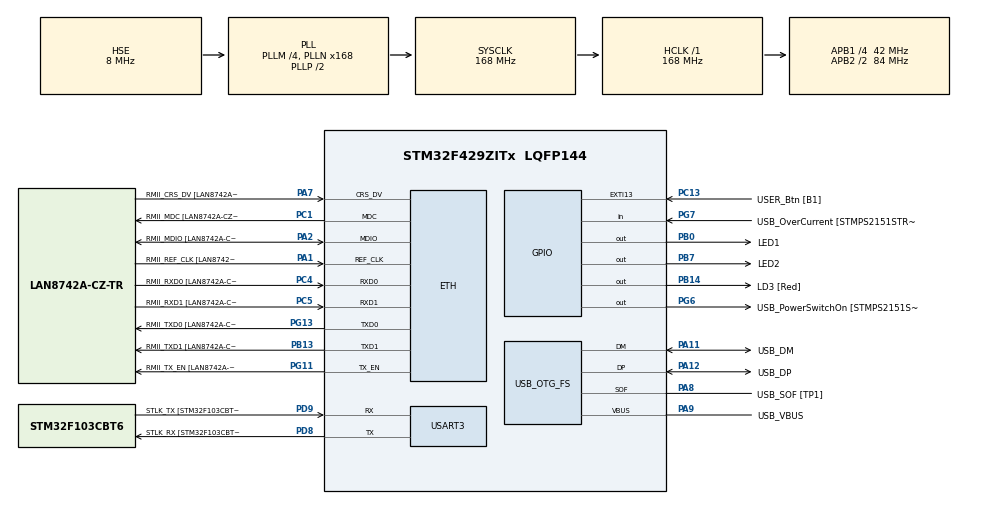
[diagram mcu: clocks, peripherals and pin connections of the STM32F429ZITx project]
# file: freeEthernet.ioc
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ETH.MediaInterface=HAL_ETH_RMII_MODE
ETH.PHY_Name=LAN8742A_PHY_ADDRESS
ETH.PHY_Value=0
ETH.PhyAddress=0
FREERTOS.Tasks01=Ping,24,512,sendPing,Default,NULL,Dynamic,NULL,NULL;Blink,8,512,blinkLED,Default,NULL,Dynamic,NULL,NULL
LWIP.BSP.number=1
LWIP.IP_ADDRESS=192.168.025.030
LWIP.LWIP_DHCP=0
LWIP.NETMASK_ADDRESS=255.255.255.000
LWIP.Version=v2.1.2_Cube
LWIP0.BSP.STBoard=false
LWIP0.BSP.api=BSP_COMPONENT_DRIVER
LWIP0.BSP.component=LAN8742
LWIP0.BSP.instance=LAN8742
LWIP0.BSP.name=Driver_PHY
LWIP0.BSP.semaphore=S_LAN8742
LWIP0.BSP.solution=LAN8742
Mcu.Family=STM32F4
Mcu.Name=STM32F429ZITx
Mcu.Package=LQFP144
NVIC.ETH_IRQn=true\:5\:0\:false\:false\:true\:true\:false\:true\:true
NVIC.PriorityGroup=NVIC_PRIORITYGROUP_4
NVIC.TIM6_DAC_IRQn=true\:15\:0\:false\:false\:true\:false\:false\:true\:true
NVIC.TimeBase=TIM6_DAC_IRQn
NVIC.TimeBaseIP=TIM6
PA1.GPIO_Label=RMII_REF_CLK [LAN8742A-CZ-TR_REFCLK0]
PA1.Mode=RMII
PA1.Signal=ETH_REF_CLK
PA10.GPIO_Label=USB_ID
PA10.Signal=USB_OTG_FS_ID
PA11.GPIO_Label=USB_DM
PA11.Mode=Device_Only
PA11.Signal=USB_OTG_FS_DM
PA12.GPIO_Label=USB_DP
PA12.Mode=Device_Only
PA12.Signal=USB_OTG_FS_DP
PA13.GPIO_Label=TMS
PA13.Mode=Trace_Asynchronous_SW
PA13.Signal=SYS_JTMS-SWDIO
PA14.GPIO_Label=TCK
PA14.Mode=Trace_Asynchronous_SW
PA14.Signal=SYS_JTCK-SWCLK
PA2.GPIO_Label=RMII_MDIO [LAN8742A-CZ-TR_MDIO]
PA2.Mode=RMII
PA2.Signal=ETH_MDIO
PA7.GPIO_Label=RMII_CRS_DV [LAN8742A-CZ-TR_CRS_DV]
PA7.Mode=RMII
PA7.Signal=ETH_CRS_DV
PA8.GPIO_Label=USB_SOF [TP1]
PA8.Mode=Activate_SOF_FS
PA8.Signal=USB_OTG_FS_SOF
PA9.GPIO_Label=USB_VBUS
PA9.Mode=Activate_VBUS
PA9.Signal=USB_OTG_FS_VBUS
PB0.GPIO_Label=LED1
PB0.Signal=GPIO_Output
PB13.GPIO_Label=RMII_TXD1 [LAN8742A-CZ-TR_TXD1]
PB13.Mode=RMII
PB13.Signal=ETH_TXD1
PB14.GPIO_Label=LD3 [Red]
PB14.Signal=GPIO_Output
PB3.Mode=Trace_Asynchronous_SW
PB3.Signal=SYS_JTDO-SWO
PB7.GPIO_Label=LED2
PB7.Signal=GPIO_Output
PC1.GPIO_Label=RMII_MDC [LAN8742A-CZ-TR_MDC]
PC1.Mode=RMII
PC1.Signal=ETH_MDC
PC13.GPIO_Label=USER_Btn [B1]
PC13.Signal=GPXTI13
PC14/OSC32_IN.Mode=LSE-External-Oscillator
PC14/OSC32_IN.Signal=RCC_OSC32_IN
PC15/OSC32_OUT.Mode=LSE-External-Oscillator
PC15/OSC32_OUT.Signal=RCC_OSC32_OUT
PC4.GPIO_Label=RMII_RXD0 [LAN8742A-CZ-TR_RXD0]
PC4.Mode=RMII
PC4.Signal=ETH_RXD0
PC5.GPIO_Label=RMII_RXD1 [LAN8742A-CZ-TR_RXD1]
PC5.Mode=RMII
PC5.Signal=ETH_RXD1
PD8.GPIO_Label=STLK_RX [STM32F103CBT6_PA3]
PD8.Mode=Asynchronous
PD8.Signal=USART3_TX
PD9.GPIO_Label=STLK_TX [STM32F103CBT6_PA2]
PD9.Mode=Asynchronous
PD9.Signal=USART3_RX
PG11.GPIO_Label=RMII_TX_EN [LAN8742A-CZ-TR_TXEN]
PG11.Mode=RMII
PG11.Signal=ETH_TX_EN
PG13.GPIO_Label=RMII_TXD0 [LAN8742A-CZ-TR_TXD0]
PG13.Mode=RMII
PG13.Signal=ETH_TXD0
PG6.GPIO_Label=USB_PowerSwitchOn [STMPS2151STR_EN]
PG6.Signal=GPIO_Output
PG7.GPIO_Label=USB_OverCurrent [STMPS2151STR_FAULT]
PG7.Signal=GPIO_Input
PH0/OSC_IN.GPIO_Label=MCO [STM32F103CBT6_PA8]
PH0/OSC_IN.Mode=HSE-External-Clock-Source
PH0/OSC_IN.Signal=RCC_OSC_IN
PH1/OSC_OUT.Mode=HSE-External-Clock-Source
PH1/OSC_OUT.Signal=RCC_OSC_OUT
ProjectManager.HeapSize=0x200
ProjectManager.StackSize=0x400
ProjectManager.TargetToolchain=STM32CubeIDE
RCC.48MHZClocksFreq_Value=48000000
RCC.AHBFreq_Value=168000000
RCC.APB1CLKDivider=RCC_HCLK_DIV4
RCC.APB1Freq_Value=42000000
RCC.APB1TimFreq_Value=84000000
RCC.APB2CLKDivider=RCC_HCLK_DIV2
RCC.APB2Freq_Value=84000000
RCC.APB2TimCLKDivider=2
RCC.APB2TimFreq_Value=168000000
RCC.CortexFreq_Value=168000000
RCC.HCLKFreq_Value=168000000
RCC.HSE_VALUE=8000000
RCC.HSI_VALUE=16000000
RCC.PLLM=4
RCC.PLLMUL=RCC_PLL_MUL9
RCC.PLLN=168
RCC.PLLQ=7
RCC.PRESCALERUSB=RCC_USBCLKSOURCE_PLL_DIV1_5
RCC.SYSCLKFreq_VALUE=168000000
RCC.SYSCLKSource=RCC_SYSCLKSOURCE_PLLCLK
RCC.SYSCLKSourceVirtual=RCC_SYSCLKSOURCE_PLLCLK
RCC.USBFreq_Value=48000000
RCC.VCOOutputFreq_Value=336000000
USART3.VirtualMode=VM_ASYNC
USB_OTG_FS.VirtualMode=Device_Only
VP_FREERTOS_VS_CMSIS_V2.Mode=CMSIS_V2
VP_LWIP_VS_Enabled.Mode=Enabled
VP_SYS_VS_tim6.Mode=TIM6
board=NUCLEO-F429ZI

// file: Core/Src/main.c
/* USER CODE BEGIN Header */
/**
  ******************************************************************************
  * @file           : main.c
  * @brief          : Main program body
  ******************************************************************************
  * @attention
  *
  * Copyright (c) 2024 STMicroelectronics.
  * All rights reserved.
  *
  * This software is licensed under terms that can be found in the LICENSE file
  * in the root directory of this software component.
  * If no LICENSE file comes with this software, it is provided AS-IS.
  *
  ******************************************************************************
  */
/* USER CODE END Header */
#include "main.h"
#include "cmsis_os.h"
#include "lwip.h"

/* USER CODE BEGIN Includes */
#include <stdio.h>
/* USER CODE END Includes */

UART_HandleTypeDef huart3;

PCD_HandleTypeDef hpcd_USB_OTG_FS;

/* Definitions for Ping */
osThreadId_t PingHandle;
const osThreadAttr_t Ping_attributes = {
  .name = "Ping",
  .stack_size = 512 * 4,
  .priority = (osPriority_t) osPriorityNormal,
};
/* Definitions for Blink */
osThreadId_t BlinkHandle;
const osThreadAttr_t Blink_attributes = {
  .name = "Blink",
  .stack_size = 512 * 4,
  .priority = (osPriority_t) osPriorityLow,
};
/* USER CODE BEGIN PV */
extern struct netif gnetif;
/* USER CODE END PV */

void SystemClock_Config(void);
static void MX_GPIO_Init(void);
static void MX_USART3_UART_Init(void);
static void MX_USB_OTG_FS_PCD_Init(void);
void sendPing(void *argument);
void blinkLED(void *argument);

/* USER CODE BEGIN PFP */
#ifdef __GNUC__
#define PUTCHAR_PROTOTYPE int __io_putchar(int ch)
#else
#define PUTCHAR_PROTOTYPE int fputc(int ch, FILE *f)
#endif

PUTCHAR_PROTOTYPE
{
  HAL_UART_Transmit(&huart3, (uint8_t *)&ch, 1, HAL_MAX_DELAY);
  return ch;
}

/* USER CODE END PFP */

/* USER CODE BEGIN 0 */
//extern struct netif gnetif;
/* USER CODE END 0 */

int main(void)
{

  /* MCU Configuration--------------------------------------------------------*/

  /* Reset of all peripherals, Initializes the Flash interface and the Systick. */
  HAL_Init();

  /* Configure the system clock */
  SystemClock_Config();

  /* Initialize all configured peripherals */
  MX_GPIO_Init();
  MX_USART3_UART_Init();
  MX_USB_OTG_FS_PCD_Init();
  /* USER CODE BEGIN 2 */
  //httpd_init();
  //uint32_t count = 0;

  /* USER CODE END 2 */

  /* Init scheduler */
  osKernelInitialize();

  /* Create the thread(s) */
  /* creation of Ping */
  PingHandle = osThreadNew(sendPing, NULL, &Ping_attributes);

  /* creation of Blink */
  BlinkHandle = osThreadNew(blinkLED, NULL, &Blink_attributes);

  /* Start scheduler */
  osKernelStart();

  /* We should never get here as control is now taken by the scheduler */
  /* Infinite loop */
  while (1)
  {

  }
}

void SystemClock_Config(void)
{
  RCC_OscInitTypeDef RCC_OscInitStruct = {0};
  RCC_ClkInitTypeDef RCC_ClkInitStruct = {0};

  /** Configure the main internal regulator output voltage
  */
  __HAL_RCC_PWR_CLK_ENABLE();
  __HAL_PWR_VOLTAGESCALING_CONFIG(PWR_REGULATOR_VOLTAGE_SCALE1);

  /** Initializes the RCC Oscillators according to the specified parameters
  * in the RCC_OscInitTypeDef structure.
  */
  RCC_OscInitStruct.OscillatorType = RCC_OSCILLATORTYPE_HSE;
  RCC_OscInitStruct.HSEState = RCC_HSE_BYPASS;
  RCC_OscInitStruct.PLL.PLLState = RCC_PLL_ON;
  RCC_OscInitStruct.PLL.PLLSource = RCC_PLLSOURCE_HSE;
  RCC_OscInitStruct.PLL.PLLM = 4;
  RCC_OscInitStruct.PLL.PLLN = 168;
  RCC_OscInitStruct.PLL.PLLP = RCC_PLLP_DIV2;
  RCC_OscInitStruct.PLL.PLLQ = 7;
  if (HAL_RCC_OscConfig(&RCC_OscInitStruct) != HAL_OK)
  {
    Error_Handler();
  }

  /** Initializes the CPU, AHB and APB buses clocks
  */
  RCC_ClkInitStruct.ClockType = RCC_CLOCKTYPE_HCLK|RCC_CLOCKTYPE_SYSCLK
                              |RCC_CLOCKTYPE_PCLK1|RCC_CLOCKTYPE_PCLK2;
  RCC_ClkInitStruct.SYSCLKSource = RCC_SYSCLKSOURCE_PLLCLK;
  RCC_ClkInitStruct.AHBCLKDivider = RCC_SYSCLK_DIV1;
  RCC_ClkInitStruct.APB1CLKDivider = RCC_HCLK_DIV4;
  RCC_ClkInitStruct.APB2CLKDivider = RCC_HCLK_DIV2;

  if (HAL_RCC_ClockConfig(&RCC_ClkInitStruct, FLASH_LATENCY_5) != HAL_OK)
  {
    Error_Handler();
  }
}

static void MX_USART3_UART_Init(void)
{

  huart3.Instance = USART3;
  huart3.Init.BaudRate = 115200;
  huart3.Init.WordLength = UART_WORDLENGTH_8B;
  huart3.Init.StopBits = UART_STOPBITS_1;
  huart3.Init.Parity = UART_PARITY_NONE;
  huart3.Init.Mode = UART_MODE_TX_RX;
  huart3.Init.HwFlowCtl = UART_HWCONTROL_NONE;
  huart3.Init.OverSampling = UART_OVERSAMPLING_16;
  if (HAL_UART_Init(&huart3) != HAL_OK)
  {
    Error_Handler();
  }

}

static void MX_USB_OTG_FS_PCD_Init(void)
{

  hpcd_USB_OTG_FS.Instance = USB_OTG_FS;
  hpcd_USB_OTG_FS.Init.dev_endpoints = 4;
  hpcd_USB_OTG_FS.Init.speed = PCD_SPEED_FULL;
  hpcd_USB_OTG_FS.Init.dma_enable = DISABLE;
  hpcd_USB_OTG_FS.Init.phy_itface = PCD_PHY_EMBEDDED;
  hpcd_USB_OTG_FS.Init.Sof_enable = ENABLE;
  hpcd_USB_OTG_FS.Init.low_power_enable = DISABLE;
  hpcd_USB_OTG_FS.Init.lpm_enable = DISABLE;
  hpcd_USB_OTG_FS.Init.vbus_sensing_enable = ENABLE;
  hpcd_USB_OTG_FS.Init.use_dedicated_ep1 = DISABLE;
  if (HAL_PCD_Init(&hpcd_USB_OTG_FS) != HAL_OK)
  {
    Error_Handler();
  }

}

static void MX_GPIO_Init(void)
{
  GPIO_InitTypeDef GPIO_InitStruct = {0};

  /* GPIO Ports Clock Enable */
  __HAL_RCC_GPIOC_CLK_ENABLE();
  __HAL_RCC_GPIOH_CLK_ENABLE();
  __HAL_RCC_GPIOA_CLK_ENABLE();
  __HAL_RCC_GPIOB_CLK_ENABLE();
  __HAL_RCC_GPIOD_CLK_ENABLE();
  __HAL_RCC_GPIOG_CLK_ENABLE();

  /*Configure GPIO pin Output Level */
  HAL_GPIO_WritePin(GPIOB, LED1_Pin|LD3_Pin|LED2_Pin, GPIO_PIN_RESET);

  /*Configure GPIO pin Output Level */
  HAL_GPIO_WritePin(USB_PowerSwitchOn_GPIO_Port, USB_PowerSwitchOn_Pin, GPIO_PIN_RESET);

  /*Configure GPIO pin : USER_Btn_Pin */
  GPIO_InitStruct.Pin = USER_Btn_Pin;
  GPIO_InitStruct.Mode = GPIO_MODE_IT_RISING;
  GPIO_InitStruct.Pull = GPIO_NOPULL;
  HAL_GPIO_Init(USER_Btn_GPIO_Port, &GPIO_InitStruct);

  /*Configure GPIO pins : LED1_Pin LD3_Pin LED2_Pin */
  GPIO_InitStruct.Pin = LED1_Pin|LD3_Pin|LED2_Pin;
  GPIO_InitStruct.Mode = GPIO_MODE_OUTPUT_PP;
  GPIO_InitStruct.Pull = GPIO_NOPULL;
  GPIO_InitStruct.Speed = GPIO_SPEED_FREQ_LOW;
  HAL_GPIO_Init(GPIOB, &GPIO_InitStruct);

  /*Configure GPIO pin : USB_PowerSwitchOn_Pin */
  GPIO_InitStruct.Pin = USB_PowerSwitchOn_Pin;
  GPIO_InitStruct.Mode = GPIO_MODE_OUTPUT_PP;
  GPIO_InitStruct.Pull = GPIO_NOPULL;
  GPIO_InitStruct.Speed = GPIO_SPEED_FREQ_LOW;
  HAL_GPIO_Init(USB_PowerSwitchOn_GPIO_Port, &GPIO_InitStruct);

  /*Configure GPIO pin : USB_OverCurrent_Pin */
  GPIO_InitStruct.Pin = USB_OverCurrent_Pin;
  GPIO_InitStruct.Mode = GPIO_MODE_INPUT;
  GPIO_InitStruct.Pull = GPIO_NOPULL;
  HAL_GPIO_Init(USB_OverCurrent_GPIO_Port, &GPIO_InitStruct);

}

void sendPing(void *argument)
{
  /* init code for LWIP */
  MX_LWIP_Init();
  /* USER CODE BEGIN 5 */
  char ip_str[16];
  ipaddr_ntoa_r(&gnetif.ip_addr, ip_str, sizeof(ip_str));
  /* Infinite loop */

  for(;;)
  {

	ipaddr_ntoa_r(&gnetif.ip_addr, ip_str, sizeof(ip_str));
	printf("PING: ");
	printf(ip_str);
	printf("\n");

    osDelay(1000);

  }
  /* USER CODE END 5 */
}

void blinkLED(void *argument)
{
  /* USER CODE BEGIN blinkLED */
	HAL_GPIO_WritePin(LED1_GPIO_Port, LED1_Pin, GPIO_PIN_SET);
  /* Infinite loop */
  for(;;)
  {
	HAL_GPIO_TogglePin(LED1_GPIO_Port, LED1_Pin);
    osDelay(1000);

  }
  /* USER CODE END blinkLED */
}

void HAL_TIM_PeriodElapsedCallback(TIM_HandleTypeDef *htim)
{
  if (htim->Instance == TIM6) {
    HAL_IncTick();
  }
}

void Error_Handler(void)
{
  __disable_irq();
  while (1)
  {
  }
}
